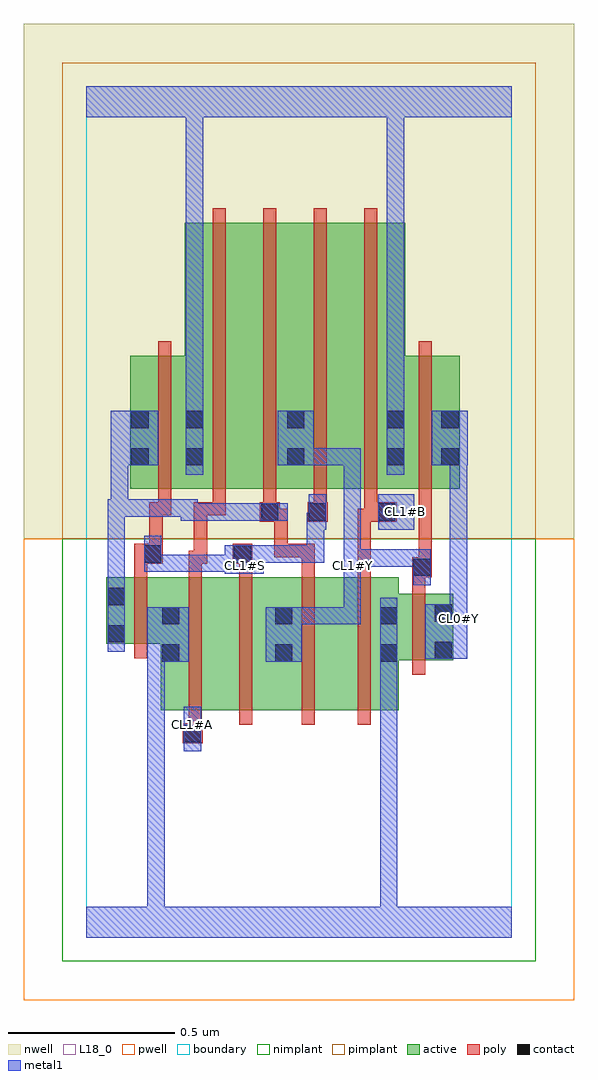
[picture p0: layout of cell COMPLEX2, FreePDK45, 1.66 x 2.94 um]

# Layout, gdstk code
import gdstk
lib = gdstk.Library(unit=1e-6, precision=1e-09)
def R(c, l, rs):  # rectangles x0, y0, x1, y1
    for r in rs: c.add(gdstk.rectangle(r[:2], r[2:], *l))
def A(c, l, x, y, w, h, nx, ny, dx, dy):  # array of equal rectangles
    R(c, l, [(x+i*dx, y+j*dy, x+i*dx+w, y+j*dy+h) for i in range(nx) for j in range(ny)])
active = (1, 0)
pwell = (2, 0)
nwell = (3, 0)
nimplant = (4, 0)
pimplant = (5, 0)
poly = (9, 0)
contact = (10, 0)
metal1 = (11, 0)
L18_0 = (18, 0)
boundary = (235, 0)

complex2 = lib.new_cell('COMPLEX2')
R(complex2, active, [(0.224,0.684,0.404,1.084), (0.404,0.684,0.624,1.084), (0.564,0.684,0.744,1.084), (0.744,0.684,0.94,1.084), (0.88,0.7,0.94,1.028), (0.564,0.756,0.624,0.998), (0.224,0.826,0.284,0.998), (0.88,0.834,1.104,1.034), (1.044,0.834,1.104,1.034), (0.06,0.884,0.12,1.084), (0.06,0.884,0.284,1.084), (0.132,1.35,0.192,1.75), (0.132,1.35,0.356,1.75), (0.296,1.35,0.356,2.15), (0.296,1.35,0.476,2.15), (0.476,1.35,0.66,2.15), (0.6,1.35,0.78,2.15), (0.6,1.35,0.66,2.044), (0.78,1.35,0.96,2.15), (0.9,1.35,1.124,1.75), (0.9,1.35,0.96,2.15), (1.064,1.35,1.124,1.75)])
R(complex2, pwell, [(-0.188,-0.188,1.468,1.2)])
R(complex2, nwell, [(-0.188,1.2,1.468,2.748)])
R(complex2, nimplant, [(-0.072,-0.072,1.352,1.2)])
R(complex2, pimplant, [(-0.072,1.2,1.352,2.632)])
A(complex2, poly, 0.38, 1.27, 0.04, 0.076, 4, 1, 0.152, 0)
A(complex2, poly, 0.38, 1.306, 0.04, 0.888, 4, 1, 0.152, 0)
R(complex2, poly, [(0.29,0.584,0.35,0.644), (0.308,0.604,0.348,0.68), (0.308,0.64,0.348,1.128), (0.46,0.64,0.5,1.128), (0.648,0.64,0.688,1.128), (0.816,0.64,0.856,1.128), (0.98,0.79,1.02,1.078), (0.144,0.84,0.184,1.128), (0.98,1.038,1.02,1.124), (0.98,1.084,1.04,1.144), (0.144,1.088,0.184,1.164), (0.308,1.088,0.348,1.164), (0.46,1.088,0.5,1.164), (0.648,1.088,0.688,1.184), (0.816,1.088,0.856,1.29), (1,1.104,1.04,1.346), (1,1.104,1.04,1.144), (1,1.104,1.04,1.144), (0.144,1.124,0.23,1.184), (0.308,1.124,0.364,1.164), (0.324,1.124,0.364,1.31), (0.44,1.124,0.5,1.184), (0.19,1.144,0.23,1.31), (0.566,1.144,0.606,1.184), (0.566,1.144,0.688,1.184), (0.566,1.144,0.606,1.29), (0.648,1.144,0.688,1.184), (0.522,1.25,0.582,1.31), (0.542,1.25,0.606,1.29), (0.566,1.25,0.606,1.29), (0.666,1.25,0.726,1.31), (0.816,1.25,0.876,1.29), (0.836,1.25,0.876,1.29), (0.836,1.25,0.934,1.31), (0.19,1.27,0.256,1.31), (0.216,1.27,0.256,1.346), (0.324,1.27,0.42,1.31), (0.216,1.306,0.256,1.794), (1,1.306,1.04,1.794)])
R(complex2, contact, [(0.294,0.588,0.346,0.64), (0.228,0.83,0.28,0.882), (0.568,0.83,0.62,0.882), (0.884,0.83,0.936,0.882), (1.048,0.838,1.1,0.89), (0.064,0.888,0.116,0.94), (0.228,0.942,0.28,0.994), (0.568,0.942,0.62,0.994), (0.884,0.942,0.936,0.994), (1.048,0.95,1.1,1.002), (0.064,1,0.116,1.052), (0.984,1.088,1.036,1.14), (0.174,1.128,0.226,1.18), (0.444,1.128,0.496,1.18), (0.526,1.254,0.578,1.306), (0.67,1.254,0.722,1.306), (0.878,1.254,0.93,1.306), (0.136,1.42,0.188,1.472), (0.3,1.42,0.352,1.472), (0.604,1.42,0.656,1.472), (0.904,1.42,0.956,1.472), (1.068,1.42,1.12,1.472), (0.136,1.532,0.188,1.584), (0.3,1.532,0.352,1.584), (0.604,1.532,0.656,1.584), (0.904,1.532,0.956,1.584), (1.068,1.532,1.12,1.584)])
R(complex2, metal1, [(0,0,1.28,0.092), (0.184,0.04,0.236,0.092), (0.184,0.04,0.236,0.092), (0.184,0.04,0.236,0.092), (0.184,0.04,0.236,0.092), (0.184,0.04,0.236,0.092), (0.184,0.04,0.236,0.092), (0.184,0.04,0.236,0.092), (0.184,0.04,0.236,0.092), (0.184,0.04,0.236,0.882), (0.884,0.04,0.936,0.854), (0.294,0.56,0.346,0.694), (0.884,0.802,0.936,0.854), (0.884,0.802,0.936,0.854), (0.884,0.802,0.936,0.854), (0.884,0.802,0.936,0.854), (0.884,0.802,0.936,0.854), (0.884,0.802,0.936,0.854), (0.884,0.802,0.936,0.854), (0.884,0.802,0.936,0.854), (0.884,0.802,0.936,0.854), (0.884,0.802,0.936,0.854), (0.884,0.802,0.936,0.854), (0.884,0.802,0.936,0.854), (0.884,0.802,0.936,1.022), (0.184,0.83,0.236,0.882), (0.184,0.83,0.236,0.882), (0.184,0.83,0.236,0.882), (0.184,0.83,0.236,0.882), (0.184,0.83,0.308,0.994), (0.54,0.83,0.648,0.994), (1.02,0.838,1.146,1.002), (0.064,0.86,0.116,1.08), (1.094,0.906,1.146,0.958), (1.094,0.906,1.146,1.014), (0.596,0.942,0.716,0.994), (0.664,0.942,0.716,0.994), (0.664,0.942,0.826,0.994), (0.774,0.942,0.826,0.994), (0.774,0.942,0.826,1.118), (1.094,0.962,1.146,1.472), (0.064,1.028,0.116,1.318), (0.984,1.06,1.036,1.168), (0.774,1.066,0.826,1.174), (0.416,1.094,0.534,1.18), (0.174,1.1,0.226,1.208), (0.174,1.1,0.358,1.152), (0.306,1.1,0.358,1.152), (0.306,1.1,0.358,1.152), (0.306,1.1,0.358,1.152), (0.306,1.1,0.468,1.152), (0.416,1.1,0.468,1.152), (0.416,1.1,0.468,1.152), (0.774,1.116,0.832,1.168), (0.78,1.116,0.832,1.168), (0.78,1.116,0.936,1.168), (0.884,1.116,0.936,1.168), (0.884,1.116,1.036,1.168), (0.774,1.122,0.826,1.174), (0.774,1.122,0.826,1.174), (0.774,1.122,0.826,1.472), (0.482,1.128,0.716,1.18), (0.664,1.128,0.716,1.18), (0.664,1.128,0.716,1.278), (0.664,1.226,0.716,1.278), (0.664,1.226,0.722,1.278), (0.67,1.226,0.722,1.334), (0.878,1.226,0.986,1.334), (0.284,1.254,0.482,1.306), (0.284,1.254,0.336,1.318), (0.43,1.254,0.482,1.306), (0.43,1.254,0.55,1.306), (0.498,1.254,0.606,1.306), (0.064,1.266,0.116,1.318), (0.064,1.266,0.116,1.318), (0.064,1.266,0.126,1.318), (0.074,1.266,0.126,1.318), (0.074,1.266,0.126,1.318), (0.074,1.266,0.336,1.318), (0.074,1.266,0.126,1.472), (0.284,1.266,0.336,1.318), (0.284,1.266,0.336,1.318), (0.3,1.392,0.352,1.612), (0.904,1.392,0.956,1.612), (0.074,1.42,0.216,1.584), (0.576,1.42,0.684,1.584), (0.632,1.42,0.716,1.472), (0.664,1.42,0.716,1.472), (0.664,1.42,0.826,1.472), (0.774,1.42,0.826,1.472), (1.04,1.42,1.148,1.584), (1.094,1.42,1.146,1.472), (1.094,1.42,1.146,1.472), (0.3,1.56,0.352,1.612), (0.3,1.56,0.352,1.612), (0.3,1.56,0.352,1.612), (0.3,1.56,0.352,1.612), (0.3,1.56,0.352,2.52), (0.904,1.56,0.956,1.612), (0.904,1.56,0.956,1.612), (0.904,1.56,0.956,1.612), (0.904,1.56,0.956,1.612), (0.904,1.56,0.956,1.612), (0.904,1.56,0.956,1.612), (0.904,1.56,0.956,1.612), (0.904,1.56,0.956,1.612), (0.904,1.56,0.956,2.52), (0,2.468,1.28,2.56), (0.3,2.468,0.352,2.52), (0.3,2.468,0.352,2.52), (0.3,2.468,0.352,2.52), (0.3,2.468,0.352,2.52)])
R(complex2, L18_0, [(0,0,1.28,0.092), (0.184,0.04,0.236,0.092), (0.184,0.04,0.236,0.092), (0.184,0.04,0.236,0.092), (0.184,0.04,0.236,0.092), (0.184,0.04,0.236,0.092), (0.184,0.04,0.236,0.092), (0.184,0.04,0.236,0.092), (0.184,0.04,0.236,0.092), (0.184,0.04,0.236,0.882), (0.884,0.04,0.936,0.854), (0.294,0.56,0.346,0.694), (0.294,0.614,0.346,0.666), (0.884,0.802,0.936,0.854), (0.884,0.802,0.936,0.854), (0.884,0.802,0.936,0.854), (0.884,0.802,0.936,0.854), (0.884,0.802,0.936,0.854), (0.884,0.802,0.936,0.854), (0.884,0.802,0.936,0.854), (0.884,0.802,0.936,0.854), (0.884,0.802,0.936,0.854), (0.884,0.802,0.936,0.854), (0.884,0.802,0.936,0.854), (0.884,0.802,0.936,0.854), (0.884,0.802,0.936,1.022), (0.184,0.83,0.236,0.882), (0.184,0.83,0.236,0.882), (0.184,0.83,0.236,0.882), (0.184,0.83,0.236,0.882), (0.184,0.83,0.308,0.994), (0.54,0.83,0.648,0.994), (1.02,0.838,1.146,1.002), (1.094,0.906,1.146,1.014), (1.094,0.906,1.146,0.958), (1.094,0.934,1.146,0.986), (0.596,0.942,0.716,0.994), (0.664,0.942,0.716,0.994), (0.664,0.942,0.826,0.994), (0.774,0.942,0.826,0.994), (0.774,0.942,0.826,1.118), (1.094,0.962,1.146,1.472), (0.984,1.06,1.036,1.168), (0.774,1.066,0.826,1.174), (0.416,1.094,0.534,1.18), (0.454,1.094,0.506,1.146), (0.774,1.094,0.826,1.146), (0.174,1.1,0.226,1.208), (0.174,1.1,0.358,1.152), (0.306,1.1,0.358,1.152), (0.306,1.1,0.358,1.152), (0.306,1.1,0.358,1.152), (0.306,1.1,0.468,1.152), (0.416,1.1,0.468,1.152), (0.416,1.1,0.468,1.152), (0.774,1.116,0.832,1.168), (0.78,1.116,0.832,1.168), (0.78,1.116,0.936,1.168), (0.884,1.116,0.936,1.168), (0.884,1.116,1.036,1.168), (0.774,1.122,0.826,1.174), (0.774,1.122,0.826,1.174), (0.774,1.122,0.826,1.472), (0.482,1.128,0.716,1.18), (0.664,1.128,0.716,1.18), (0.664,1.128,0.716,1.278), (0.664,1.226,0.716,1.278), (0.664,1.226,0.722,1.278), (0.67,1.226,0.722,1.334), (0.878,1.226,0.986,1.334), (0.934,1.254,0.986,1.306), (0.3,1.392,0.352,1.612), (0.904,1.392,0.956,1.612), (0.576,1.42,0.684,1.584), (0.632,1.42,0.716,1.472), (0.664,1.42,0.716,1.472), (0.664,1.42,0.826,1.472), (0.774,1.42,0.826,1.472), (1.04,1.42,1.148,1.584), (1.094,1.42,1.146,1.472), (1.094,1.42,1.146,1.472), (0.3,1.56,0.352,1.612), (0.3,1.56,0.352,1.612), (0.3,1.56,0.352,1.612), (0.3,1.56,0.352,1.612), (0.3,1.56,0.352,2.52), (0.904,1.56,0.956,1.612), (0.904,1.56,0.956,1.612), (0.904,1.56,0.956,1.612), (0.904,1.56,0.956,1.612), (0.904,1.56,0.956,1.612), (0.904,1.56,0.956,1.612), (0.904,1.56,0.956,1.612), (0.904,1.56,0.956,1.612), (0.904,1.56,0.956,2.52), (0,2.468,1.28,2.56), (0.3,2.468,0.352,2.52), (0.3,2.468,0.352,2.52), (0.3,2.468,0.352,2.52), (0.3,2.468,0.352,2.52)])
R(complex2, boundary, [(0,0,1.28,2.56)])
complex2.add(gdstk.Label('CL0#Y', (1.12,0.96), layer=11, texttype=0))
complex2.add(gdstk.Label('CL1#A', (0.32,0.64), layer=11, texttype=0))
complex2.add(gdstk.Label('CL1#B', (0.96,1.28), layer=11, texttype=0))
complex2.add(gdstk.Label('CL1#S', (0.48,1.12), layer=11, texttype=0))
complex2.add(gdstk.Label('CL1#Y', (0.8,1.12), layer=11, texttype=0))

lib.write_gds('COMPLEX2.gds')
